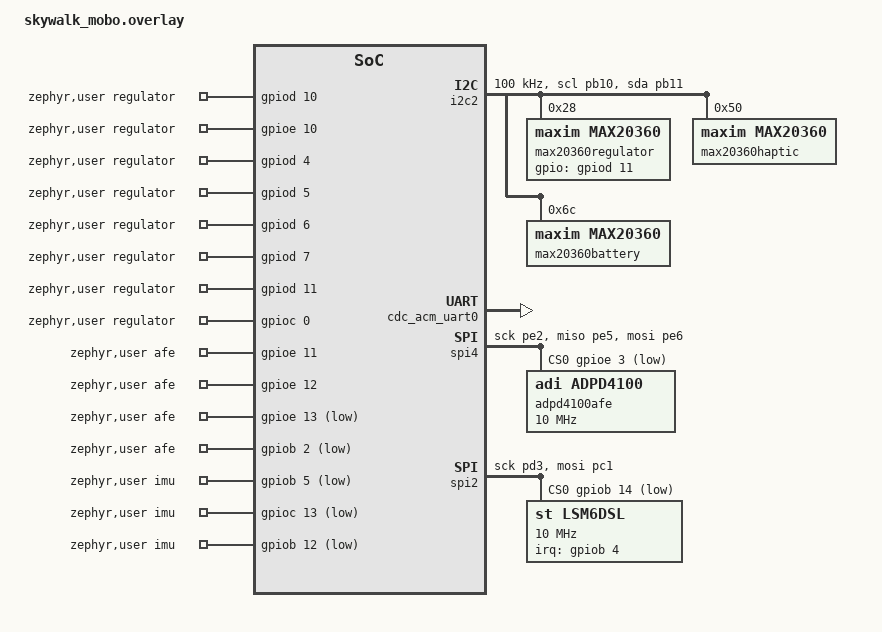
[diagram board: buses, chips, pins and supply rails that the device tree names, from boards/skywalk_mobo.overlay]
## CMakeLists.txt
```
#-------------------------------------------------------------------------------
# Zephyr Example Application
#
# Copyright (c) 2021 Nordic Semiconductor ASA
# SPDX-License-Identifier: Apache-2.0

cmake_minimum_required(VERSION 3.13.1)
find_package(Zephyr REQUIRED HINTS $ENV{ZEPHYR_BASE})

project(app LANGUAGES C VERSION 1.0.0)

configure_file(app_version.h.in ${CMAKE_BINARY_DIR}/app/include/app_version.h)
target_include_directories(app PRIVATE ${CMAKE_BINARY_DIR}/app/include src)

file(GLOB_RECURSE app_sources src/*.c*)
target_sources(app PRIVATE ${app_sources})
```

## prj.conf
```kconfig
# Copyright (c) 2021 Nordic Semiconductor ASA
# SPDX-License-Identifier: Apache-2.0
#
# This file contains selected Kconfig options for the application.

CONFIG_SENSOR=y

CONFIG_SERIAL=y
CONFIG_CONSOLE=y
CONFIG_UART_CONSOLE=y
CONFIG_UART_LINE_CTRL=y

CONFIG_SYSTEM_WORKQUEUE_STACK_SIZE=10000
CONFIG_MAIN_STACK_SIZE=10000
CONFIG_ISR_STACK_SIZE=100000
CONFIG_SYSTEM_WORKQUEUE_STACK_SIZE=100000
CONFIG_IDLE_STACK_SIZE=100000
CONFIG_IPM_CONSOLE_STACK_SIZE=100000
CONFIG_TEST_EXTRA_STACK_SIZE=100000
CONFIG_CMSIS_THREAD_MAX_STACK_SIZE=100000
CONFIG_CMSIS_V2_THREAD_MAX_STACK_SIZE=100000
CONFIG_CMSIS_V2_THREAD_DYNAMIC_STACK_SIZE=100000

CONFIG_LIB_CPLUSPLUS=y
CONFIG_NEWLIB_LIBC=y
CONFIG_STD_CPP14=y
CONFIG_CPP=y

CONFIG_GPIO=y
CONFIG_I2C=y
CONFIG_SPI=y

# compiler
CONFIG_DEBUG_OPTIMIZATIONS=y

# console
CONFIG_CONSOLE=y

# UART console
CONFIG_SERIAL=y
CONFIG_UART_CONSOLE=y

# logging
CONFIG_LOG=y
CONFIG_APP_LOG_LEVEL_DBG=y
# sensor
CONFIG_LSM6DSL_EXT0_LIS3MDL=y
CONFIG_LSM6DSL_SENSORHUB=y
CONFIG_LSM6DSL_TRIGGER_GLOBAL_THREAD=y
CONFIG_CBPRINTF_FP_SUPPORT=y

# UART console
CONFIG_STDOUT_CONSOLE=y
CONFIG_USB_DEVICE_STACK=y
CONFIG_USB_DEVICE_MANUFACTURER="Skywalk"
CONFIG_USB_DEVICE_PRODUCT="Skywalk Main rev 1.0"
CONFIG_USB_DEVICE_SN="1234567890"
# looks like [SK]YW[AL]K
CONFIG_USB_DEVICE_VID=0x5EA1
# proto3 v1
CONFIG_USB_DEVICE_PID=0x0301
CONFIG_LOG=y
CONFIG_USB_DRIVER_LOG_LEVEL_ERR=y
CONFIG_USB_DEVICE_LOG_LEVEL_ERR=y
CONFIG_SERIAL=y
CONFIG_USB_CDC_ACM_RINGBUF_SIZE=16384
CONFIG_UART_INTERRUPT_DRIVEN=y
CONFIG_UART_LINE_CTRL=y
CONFIG_USB_DEVICE_INITIALIZE_AT_BOOT=n

# RTT console
CONFIG_USE_SEGGER_RTT=y
CONFIG_RTT_CONSOLE=y
```

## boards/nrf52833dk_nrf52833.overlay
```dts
/*
 * Copyright (c) 2021 Nordic Semiconductor ASA
 * SPDX-License-Identifier: Apache-2.0
 */

/* This devicetree overlay file will be automatically picked by the Zephyr
 * build system when building the sample for the nucleo_f302r8 board. It shows
 * how the example-application can be built on sample boards already provided
 * by Zephyr.
 */

/ {
	chosen {
    };
};
```

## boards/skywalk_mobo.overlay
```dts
/ {
    zephyr,user {
        regulator-gpios =   <&gpiod 10 GPIO_ACTIVE_HIGH>,
                            <&gpioe 10 GPIO_ACTIVE_HIGH>,
                            <&gpiod 4 GPIO_ACTIVE_HIGH>,
                            <&gpiod 5 GPIO_ACTIVE_HIGH>,
                            <&gpiod 6 GPIO_ACTIVE_HIGH>,
                            <&gpiod 7 GPIO_ACTIVE_HIGH>,
                            <&gpiod 11 GPIO_ACTIVE_HIGH>,
                            <&gpioc 0 GPIO_ACTIVE_HIGH>;

        afe-gpios =    <&gpioe 11 GPIO_PULL_DOWN>,
                       <&gpioe 12 GPIO_PULL_DOWN>,
                       <&gpioe 13 (GPIO_PULL_UP | GPIO_ACTIVE_LOW)>,
                       <&gpiob 2 (GPIO_PULL_UP | GPIO_ACTIVE_LOW)>;

        imu-gpios =   <&gpiob 5 (GPIO_PULL_UP | GPIO_ACTIVE_LOW)>,
                      <&gpioc 13 (GPIO_PULL_UP | GPIO_ACTIVE_LOW)>,
                      <&gpiob 12 (GPIO_PULL_UP | GPIO_ACTIVE_LOW)>;

    };
};

&i2c2 {
    status = "okay";
    clock-frequency = <I2C_BITRATE_STANDARD>;
    pinctrl-0 = <&i2c2_scl_pb10 &i2c2_sda_pb11>;
    pinctrl-names = "default";
    max20360regulator: max20360regulator@28 {
        compatible = "maxim,max20360";
        reg = <0x28>;
        gpios = <&gpiod 11 GPIO_ACTIVE_HIGH>;
    };
    max20360haptic: max20360haptic@50 {
        compatible = "maxim,max20360";
        reg = <0x50>;
    };
    max20360battery: max20360battery@36 {
        compatible = "maxim,max20360";
        reg = <0x6c>;
    };
};

&zephyr_udc0 {
	cdc_acm_uart0: cdc_acm_uart0 {
                 compatible = "zephyr,cdc-acm-uart";
                 label = "CDC_ACM_0";
         };
};

&gpioe {
	status = "okay";
};

&spi4 {
    status = "okay";
    pinctrl-0 = <&spi4_sck_pe2 &spi4_miso_pe5 &spi4_mosi_pe6>;
    pinctrl-names = "default";
    cs-gpios = <&gpioe 3 GPIO_ACTIVE_LOW>,
               <&gpioe 7 GPIO_ACTIVE_LOW>,
               <&gpioe 8 GPIO_ACTIVE_LOW>,
               <&gpioe 1 GPIO_ACTIVE_LOW>;
    adpd4100afe: adpd4100@0 {
        compatible = "adi,adpd4100";
        reg = <0>;
        spi-max-frequency = <10000000>;
        label = "adpd4100afe";
    };
};

&spi2 {
    status = "okay";
    pinctrl-0 = <&spi2_sck_pd3 &spi2_miso_pc2_c &spi2_mosi_pc1>;
    pinctrl-names = "default";
    cs-gpios = <&gpiob 14 GPIO_ACTIVE_LOW>,
               <&gpiob 13 GPIO_ACTIVE_LOW>,
               <&gpioe 15 GPIO_ACTIVE_LOW>,
               <&gpiob 15 GPIO_ACTIVE_LOW>;
    lsm6dsl@0 {
        compatible = "st,lsm6dsl";
        reg = <0>;
        spi-max-frequency = <10000000>;
        label = "lsm6dsl";
        irq-gpios = <&gpiob 4 GPIO_ACTIVE_HIGH>;
    };
};
```

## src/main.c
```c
#include <zephyr/kernel.h>
#include <zephyr/sys/printk.h>
#include <zephyr/usb/usb_device.h>
#include <zephyr/drivers/uart.h>
#include <zephyr/drivers/sensor.h>
#include <zephyr/drivers/gpio.h>
#include <zephyr/logging/log.h>
#include <stdio.h>
#include <zephyr/drivers/i2c.h>

#include <zephyr/bluetooth/bluetooth.h>
#include <zephyr/bluetooth/hci.h>
#include <zephyr/bluetooth/conn.h>
#include <zephyr/bluetooth/uuid.h>
#include <zephyr/bluetooth/gatt.h>
#include <zephyr/bluetooth/services/bas.h>
#include <zephyr/bluetooth/services/hrs.h>
#include <zephyr/bluetooth/services/ias.h>
#include <sys/types.h>

#include "app_version.h"

//BUILD_ASSERT(DT_NODE_HAS_COMPAT(DT_CHOSEN(zephyr_console), zephyr_cdc_acm_uart),
//             "Console device is not ACM CDC UART device");

LOG_MODULE_REGISTER(main, CONFIG_APP_LOG_LEVEL);

#include "cts.h"

/* Custom Service Variables */
#define BT_UUID_CUSTOM_SERVICE_VAL \
	BT_UUID_128_ENCODE(0x12345678, 0x1234, 0x5678, 0x1234, 0x56789abcdef0)

static struct bt_uuid_128 vnd_uuid = BT_UUID_INIT_128(
        BT_UUID_CUSTOM_SERVICE_VAL);

static struct bt_uuid_128 vnd_enc_uuid = BT_UUID_INIT_128(
        BT_UUID_128_ENCODE(0x12345678, 0x1234, 0x5678, 0x1234, 0x56789abcdef1));

static struct bt_uuid_128 vnd_auth_uuid = BT_UUID_INIT_128(
        BT_UUID_128_ENCODE(0x12345678, 0x1234, 0x5678, 0x1234, 0x56789abcdef2));

#define VND_MAX_LEN 20

static uint8_t vnd_value[VND_MAX_LEN + 1] = { 'V', 'e', 'n', 'd', 'o', 'r'};
static uint8_t vnd_auth_value[VND_MAX_LEN + 1] = { 'V', 'e', 'n', 'd', 'o', 'r'};
static uint8_t vnd_wwr_value[VND_MAX_LEN + 1] = { 'V', 'e', 'n', 'd', 'o', 'r' };

static ssize_t read_vnd(struct bt_conn *conn, const struct bt_gatt_attr *attr,
                        void *buf, uint16_t len, uint16_t offset)
{
    const char *value = attr->user_data;

    return bt_gatt_attr_read(conn, attr, buf, len, offset, value,
                             strlen(value));
}

static ssize_t write_vnd(struct bt_conn *conn, const struct bt_gatt_attr *attr,
                         const void *buf, uint16_t len, uint16_t offset,
                         uint8_t flags)
{
    uint8_t *value = attr->user_data;

    if (offset + len > VND_MAX_LEN) {
        return BT_GATT_ERR(BT_ATT_ERR_INVALID_OFFSET);
    }

    memcpy(value + offset, buf, len);
    value[offset + len] = 0;

    return len;
}

static uint8_t simulate_vnd;
static uint8_t indicating;
static struct bt_gatt_indicate_params ind_params;

static void vnd_ccc_cfg_changed(const struct bt_gatt_attr *attr, uint16_t value)
{
    simulate_vnd = (value == BT_GATT_CCC_INDICATE) ? 1 : 0;
}

static void indicate_cb(struct bt_conn *conn,
                        struct bt_gatt_indicate_params *params, uint8_t err)
{
    printk("Indication %s\n", err != 0U ? "fail" : "success");
}

static void indicate_destroy(struct bt_gatt_indicate_params *params)
{
    printk("Indication complete\n");
    indicating = 0U;
}

#define VND_LONG_MAX_LEN 74
static uint8_t vnd_long_value[VND_LONG_MAX_LEN + 1] = {
        'V', 'e', 'n', 'd', 'o', 'r', ' ', 'd', 'a', 't', 'a', '1',
        'V', 'e', 'n', 'd', 'o', 'r', ' ', 'd', 'a', 't', 'a', '2',
        'V', 'e', 'n', 'd', 'o', 'r', ' ', 'd', 'a', 't', 'a', '3',
        'V', 'e', 'n', 'd', 'o', 'r', ' ', 'd', 'a', 't', 'a', '4',
        'V', 'e', 'n', 'd', 'o', 'r', ' ', 'd', 'a', 't', 'a', '5',
        'V', 'e', 'n', 'd', 'o', 'r', ' ', 'd', 'a', 't', 'a', '6',
        '.', ' ' };

static ssize_t write_long_vnd(struct bt_conn *conn,
                              const struct bt_gatt_attr *attr, const void *buf,
                              uint16_t len, uint16_t offset, uint8_t flags)
{
    uint8_t *value = attr->user_data;

    if (flags & BT_GATT_WRITE_FLAG_PREPARE) {
        return 0;
    }

    if (offset + len > VND_LONG_MAX_LEN) {
        return BT_GATT_ERR(BT_ATT_ERR_INVALID_OFFSET);
    }

    memcpy(value + offset, buf, len);
    value[offset + len] = 0;

    return len;
}

static const struct bt_uuid_128 vnd_long_uuid = BT_UUID_INIT_128(
        BT_UUID_128_ENCODE(0x12345678, 0x1234, 0x5678, 0x1234, 0x56789abcdef3));

static struct bt_gatt_cep vnd_long_cep = {
        .properties = BT_GATT_CEP_RELIABLE_WRITE,
};

static int signed_value;

static ssize_t read_signed(struct bt_conn *conn, const struct bt_gatt_attr *attr,
                           void *buf, uint16_t len, uint16_t offset)
{
    const char *value = attr->user_data;

    return bt_gatt_attr_read(conn, attr, buf, len, offset, value,
                             sizeof(signed_value));
}

static ssize_t write_signed(struct bt_conn *conn, const struct bt_gatt_attr *attr,
                            const void *buf, uint16_t len, uint16_t offset,
                            uint8_t flags)
{
    uint8_t *value = attr->user_data;

    if (offset + len > sizeof(signed_value)) {
        return BT_GATT_ERR(BT_ATT_ERR_INVALID_OFFSET);
    }

    memcpy(value + offset, buf, len);

    return len;
}

static const struct bt_uuid_128 vnd_signed_uuid = BT_UUID_INIT_128(
        BT_UUID_128_ENCODE(0x13345678, 0x1234, 0x5678, 0x1334, 0x56789abcdef3));

static const struct bt_uuid_128 vnd_write_cmd_uuid = BT_UUID_INIT_128(
        BT_UUID_128_ENCODE(0x12345678, 0x1234, 0x5678, 0x1234, 0x56789abcdef4));

static ssize_t write_without_rsp_vnd(struct bt_conn *conn,
                                     const struct bt_gatt_attr *attr,
                                     const void *buf, uint16_t len, uint16_t offset,
                                     uint8_t flags)
{
    uint8_t *value = attr->user_data;

    if (!(flags & BT_GATT_WRITE_FLAG_CMD)) {
        /* Write Request received. Reject it since this Characteristic
         * only accepts Write Without Response.
         */
        return BT_GATT_ERR(BT_ATT_ERR_WRITE_REQ_REJECTED);
    }

    if (offset + len > VND_MAX_LEN) {
        return BT_GATT_ERR(BT_ATT_ERR_INVALID_OFFSET);
    }

    memcpy(value + offset, buf, len);
    value[offset + len] = 0;

    return len;
}

/* Vendor Primary Service Declaration */
BT_GATT_SERVICE_DEFINE(vnd_svc,
        BT_GATT_PRIMARY_SERVICE(&vnd_uuid),
BT_GATT_CHARACTERISTIC(&vnd_enc_uuid.uuid,
BT_GATT_CHRC_READ | BT_GATT_CHRC_WRITE |
BT_GATT_CHRC_INDICATE,
BT_GATT_PERM_READ_ENCRYPT |
BT_GATT_PERM_WRITE_ENCRYPT,
read_vnd, write_vnd, vnd_value),
BT_GATT_CCC(vnd_ccc_cfg_changed,
        BT_GATT_PERM_READ | BT_GATT_PERM_WRITE_ENCRYPT),
BT_GATT_CHARACTERISTIC(&vnd_auth_uuid.uuid,
BT_GATT_CHRC_READ | BT_GATT_CHRC_WRITE,
BT_GATT_PERM_READ_AUTHEN |
BT_GATT_PERM_WRITE_AUTHEN,
read_vnd, write_vnd, vnd_auth_value),
BT_GATT_CHARACTERISTIC(&vnd_long_uuid.uuid, BT_GATT_CHRC_READ |
BT_GATT_CHRC_WRITE | BT_GATT_CHRC_EXT_PROP,
BT_GATT_PERM_READ | BT_GATT_PERM_WRITE |
BT_GATT_PERM_PREPARE_WRITE,
read_vnd, write_long_vnd, &vnd_long_value),
BT_GATT_CEP(&vnd_long_cep),
BT_GATT_CHARACTERISTIC(&vnd_signed_uuid.uuid, BT_GATT_CHRC_READ |
BT_GATT_CHRC_WRITE | BT_GATT_CHRC_AUTH,
BT_GATT_PERM_READ | BT_GATT_PERM_WRITE,
read_signed, write_signed, &signed_value),
BT_GATT_CHARACTERISTIC(&vnd_write_cmd_uuid.uuid,
BT_GATT_CHRC_WRITE_WITHOUT_RESP,
BT_GATT_PERM_WRITE, NULL,
write_without_rsp_vnd, &vnd_wwr_value),
);

static const struct bt_data ad[] = {
        BT_DATA_BYTES(BT_DATA_FLAGS, (BT_LE_AD_GENERAL | BT_LE_AD_NO_BREDR)),
        BT_DATA_BYTES(BT_DATA_UUID16_ALL,
                      BT_UUID_16_ENCODE(BT_UUID_HRS_VAL),
                      BT_UUID_16_ENCODE(BT_UUID_BAS_VAL),
                      BT_UUID_16_ENCODE(BT_UUID_CTS_VAL)),
        BT_DATA_BYTES(BT_DATA_UUID128_ALL, BT_UUID_CUSTOM_SERVICE_VAL),
};

void mtu_updated(struct bt_conn *conn, uint16_t tx, uint16_t rx)
{
    printk("Updated MTU: TX: %d RX: %d bytes\n", tx, rx);
}

static struct bt_gatt_cb gatt_callbacks = {
        .att_mtu_updated = mtu_updated
};

static void connected(struct bt_conn *conn, uint8_t err)
{
    if (err) {
        printk("Connection failed (err 0x%02x)\n", err);
    } else {
        printk("Connected\n");
    }
}

static void disconnected(struct bt_conn *conn, uint8_t reason)
{
    printk("Disconnected (reason 0x%02x)\n", reason);
}

static void alert_stop(void)
{
    printk("Alert stopped\n");
}

static void alert_start(void)
{
    printk("Mild alert started\n");
}

static void alert_high_start(void)
{
    printk("High alert started\n");
}

BT_CONN_CB_DEFINE(conn_callbacks) = {
        .connected = connected,
        .disconnected = disconnected,
};

BT_IAS_CB_DEFINE(ias_callbacks) = {
        .no_alert = alert_stop,
        .mild_alert = alert_start,
        .high_alert = alert_high_start,
};

static void bt_ready(void)
{
    int err;

    printk("Bluetooth initialized\n");

    cts_init();

    if (IS_ENABLED(CONFIG_SETTINGS)) {
        settings_load();
    }

    err = bt_le_adv_start(BT_LE_ADV_CONN_NAME, ad, ARRAY_SIZE(ad), NULL, 0);
    if (err) {
        printk("Advertising failed to start (err %d)\n", err);
        return;
    }

    printk("Advertising successfully started\n");
}

static void auth_passkey_display(struct bt_conn *conn, unsigned int passkey)
{
    char addr[BT_ADDR_LE_STR_LEN];

    bt_addr_le_to_str(bt_conn_get_dst(conn), addr, sizeof(addr));

    printk("Passkey for %s: %06u\n", addr, passkey);
}

static void auth_cancel(struct bt_conn *conn)
{
    char addr[BT_ADDR_LE_STR_LEN];

    bt_addr_le_to_str(bt_conn_get_dst(conn), addr, sizeof(addr));

    printk("Pairing cancelled: %s\n", addr);
}

static struct bt_conn_auth_cb auth_cb_display = {
        .passkey_display = auth_passkey_display,
        .passkey_entry = NULL,
        .cancel = auth_cancel,
};

static void bas_notify(void)
{
    uint8_t battery_level = bt_bas_get_battery_level();

    battery_level--;

    if (!battery_level) {
        battery_level = 100U;
    }

    bt_bas_set_battery_level(battery_level);
}

static void hrs_notify(void)
{
    static uint8_t heartrate = 90U;

    /* Heartrate measurements simulation */
    heartrate++;
    if (heartrate == 160U) {
        heartrate = 90U;
    }

    bt_hrs_notify(heartrate);
}

void main(void)
{
//    const struct device *const dev = DEVICE_DT_GET(DT_CHOSEN(zephyr_console));
//    uint32_t dtr = 0;
//
//    if (usb_enable(NULL)) {
//        return;
//    }
//
//    /* Poll if the DTR flag was set */
//    while (!dtr) {
//        uart_line_ctrl_get(dev, UART_LINE_CTRL_DTR, &dtr);
//        /* Give CPU resources to low priority threads. */
//        k_sleep(K_MSEC(100));
//    }

    printk("Zephyr Example Application %s\n", APP_VERSION_STR);

    const struct gpio_dt_spec led = GPIO_DT_SPEC_GET(DT_ALIAS(led3), gpios);
    int led_on = 0;

    struct bt_gatt_attr *vnd_ind_attr;
    char str[BT_UUID_STR_LEN];
    int err;

    err = bt_enable(NULL);
    if (err) {
        printk("Bluetooth init failed (err %d)\n", err);
        return;
    }

    bt_ready();

    bt_gatt_cb_register(&gatt_callbacks);
    bt_conn_auth_cb_register(&auth_cb_display);

    vnd_ind_attr = bt_gatt_find_by_uuid(vnd_svc.attrs, vnd_svc.attr_count,
                                        &vnd_enc_uuid.uuid);
    bt_uuid_to_str(&vnd_enc_uuid.uuid, str, sizeof(str));
    printk("Indicate VND attr %p (UUID %s)\n", vnd_ind_attr, str);

    while (1) {
        printk("Hello World! %s\n", CONFIG_ARCH);

        gpio_pin_set_dt(&led, led_on);
        led_on = !led_on;

        /* Current Time Service updates only when time is changed */
        cts_notify();

        /* Heartrate measurements simulation */
        hrs_notify();

        /* Battery level simulation */
        bas_notify();

        /* Vendor indication simulation */
        if (simulate_vnd && vnd_ind_attr) {
            if (indicating) {
                continue;
            }

            ind_params.attr = vnd_ind_attr;
            ind_params.func = indicate_cb;
            ind_params.destroy = indicate_destroy;
            ind_params.data = &indicating;
            ind_params.len = sizeof(indicating);

            if (bt_gatt_indicate(NULL, &ind_params) == 0) {
                indicating = 1U;
            }
        }

        k_sleep(K_SECONDS(1));
    }
//    const struct device *const dev_imu = DEVICE_DT_GET_ONE(bosch_bmi270);
//    struct sensor_value acc[3], gyr[3];
//    struct sensor_value full_scale, sampling_freq, oversampling;
//
////    if (!device_is_ready(dev_imu)) {
////        printf("Device %s is not ready\n", dev_imu->name);
////        return;
////    }
//
//    printf("Device %p name is %s\n", dev_imu, dev_imu->name);
//
//    /* Setting scale in G, due to loss of precision if the SI unit m/s^2
//     * is used
//     */
//    full_scale.val1 = 2;            /* G */
//    full_scale.val2 = 0;
//    sampling_freq.val1 = 100;       /* Hz. Performance mode */
//    sampling_freq.val2 = 0;
//    oversampling.val1 = 1;          /* Normal mode */
//    oversampling.val2 = 0;
//
//    sensor_attr_set(dev_imu, SENSOR_CHAN_ACCEL_XYZ, SENSOR_ATTR_FULL_SCALE,
//                    &full_scale);
//    sensor_attr_set(dev_imu, SENSOR_CHAN_ACCEL_XYZ, SENSOR_ATTR_OVERSAMPLING,
//                    &oversampling);
//    /* Set sampling frequency last as this also sets the appropriate
//     * power mode. If already sampling, change to 0.0Hz before changing
//     * other attributes
//     */
//    sensor_attr_set(dev_imu, SENSOR_CHAN_ACCEL_XYZ,
//                    SENSOR_ATTR_SAMPLING_FREQUENCY,
//                    &sampling_freq);
//
//
//    /* Setting scale in degrees/s to match the sensor scale */
//    full_scale.val1 = 500;          /* dps */
//    full_scale.val2 = 0;
//    sampling_freq.val1 = 100;       /* Hz. Performance mode */
//    sampling_freq.val2 = 0;
//    oversampling.val1 = 1;          /* Normal mode */
//    oversampling.val2 = 0;
//
//    sensor_attr_set(dev_imu, SENSOR_CHAN_GYRO_XYZ, SENSOR_ATTR_FULL_SCALE,
//                    &full_scale);
//    sensor_attr_set(dev_imu, SENSOR_CHAN_GYRO_XYZ, SENSOR_ATTR_OVERSAMPLING,
//                    &oversampling);
//    /* Set sampling frequency last as this also sets the appropriate
//     * power mode. If already sampling, change sampling frequency to
//     * 0.0Hz before changing other attributes
//     */
//    sensor_attr_set(dev_imu, SENSOR_CHAN_GYRO_XYZ,
//                    SENSOR_ATTR_SAMPLING_FREQUENCY,
//                    &sampling_freq);
//
//    while (1) {
//        /* 10ms period, 100Hz Sampling frequency */
//        k_sleep(K_MSEC(10));
//
//        sensor_sample_fetch(dev_imu);
//
//        sensor_channel_get(dev_imu, SENSOR_CHAN_ACCEL_XYZ, acc);
//        sensor_channel_get(dev_imu, SENSOR_CHAN_GYRO_XYZ, gyr);
//
//        printf("AX: %d.%06d; AY: %d.%06d; AZ: %d.%06d; "
//               "GX: %d.%06d; GY: %d.%06d; GZ: %d.%06d;\n",
//               acc[0].val1, acc[0].val2,
//               acc[1].val1, acc[1].val2,
//               acc[2].val1, acc[2].val2,
//               gyr[0].val1, gyr[0].val2,
//               gyr[1].val1, gyr[1].val2,
//               gyr[2].val1, gyr[2].val2);
//    }
}
```

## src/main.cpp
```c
#include <zephyr/kernel.h>
#include <zephyr/device.h>
#include <zephyr/drivers/sensor.h>
#include <zephyr/usb/usb_device.h>
#include <zephyr/drivers/uart.h>

#include "pmic/pmic_interface.h"
#include "imu/imu_interface.h"
#include "logger/logger_interface.h"

#pragma clang diagnostic push
#pragma clang diagnostic ignored "-Wunknown-pragmas"
#pragma ide diagnostic ignored "EndlessLoop"


/**
 * @brief Initialize all the chips
 * @return
 */
int init()
{
	/* Init Power Management Subsystem */
	power_init();
	imu_init();
	logger_init();

	printk("Init successful.\n");
	return 0;
}

/**
 * @brief Waiting for data collection to start
 * @return
 */
int wait_for_start()
{
	logger_wait_for_start();
	return 0;
}

int main()
{
	init();
	wait_for_start();

	imu_start();
	while (true) {
		k_sleep(K_MSEC(1000));
	}
}

#pragma clang diagnostic pop
```

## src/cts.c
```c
/** @file
 *  @brief CTS Service sample
 */

/*
 * Copyright (c) 2016 Intel Corporation
 *
 * SPDX-License-Identifier: Apache-2.0
 */

#include <zephyr/types.h>
#include <stddef.h>
#include <string.h>
#include <errno.h>
#include <zephyr/sys/printk.h>
#include <zephyr/sys/byteorder.h>
#include <zephyr/kernel.h>

#include <zephyr/bluetooth/bluetooth.h>
#include <zephyr/bluetooth/hci.h>
#include <zephyr/bluetooth/conn.h>
#include <zephyr/bluetooth/uuid.h>
#include <zephyr/bluetooth/gatt.h>

static uint8_t ct[10];
static uint8_t ct_update;

static void ct_ccc_cfg_changed(const struct bt_gatt_attr *attr, uint16_t value)
{
    /* TODO: Handle value */
}

static ssize_t read_ct(struct bt_conn *conn, const struct bt_gatt_attr *attr,
                       void *buf, uint16_t len, uint16_t offset)
{
    const char *value = attr->user_data;

    return bt_gatt_attr_read(conn, attr, buf, len, offset, value,
                             sizeof(ct));
}

static ssize_t write_ct(struct bt_conn *conn, const struct bt_gatt_attr *attr,
                        const void *buf, uint16_t len, uint16_t offset,
                        uint8_t flags)
{
    uint8_t *value = attr->user_data;

    if (offset + len > sizeof(ct)) {
        return BT_GATT_ERR(BT_ATT_ERR_INVALID_OFFSET);
    }

    memcpy(value + offset, buf, len);
    ct_update = 1U;

    return len;
}

/* Current Time Service Declaration */
BT_GATT_SERVICE_DEFINE(cts_cvs,
                       BT_GATT_PRIMARY_SERVICE(BT_UUID_CTS),
                       BT_GATT_CHARACTERISTIC(BT_UUID_CTS_CURRENT_TIME, BT_GATT_CHRC_READ |
                                                                        BT_GATT_CHRC_NOTIFY | BT_GATT_CHRC_WRITE,
                                              BT_GATT_PERM_READ | BT_GATT_PERM_WRITE,
                                              read_ct, write_ct, ct),
                       BT_GATT_CCC(ct_ccc_cfg_changed, BT_GATT_PERM_READ | BT_GATT_PERM_WRITE),
);

static void generate_current_time(uint8_t *buf)
{
    uint16_t year;

    /* 'Exact Time 256' contains 'Day Date Time' which contains
     * 'Date Time' - characteristic contains fields for:
     * year, month, day, hours, minutes and seconds.
     */

    year = sys_cpu_to_le16(2015);
    memcpy(buf,  &year, 2); /* year */
    buf[2] = 5U; /* months starting from 1 */
    buf[3] = 30U; /* day */
    buf[4] = 12U; /* hours */
    buf[5] = 45U; /* minutes */
    buf[6] = 30U; /* seconds */

    /* 'Day of Week' part of 'Day Date Time' */
    buf[7] = 1U; /* day of week starting from 1 */

    /* 'Fractions 256 part of 'Exact Time 256' */
    buf[8] = 0U;

    /* Adjust reason */
    buf[9] = 0U; /* No update, change, etc */
}

void cts_init(void)
{
    /* Simulate current time for Current Time Service */
    generate_current_time(ct);
}

void cts_notify(void)
{	/* Current Time Service updates only when time is changed */
    if (!ct_update) {
        return;
    }

    ct_update = 0U;
    bt_gatt_notify(NULL, &cts_cvs.attrs[1], &ct, sizeof(ct));
}
```
